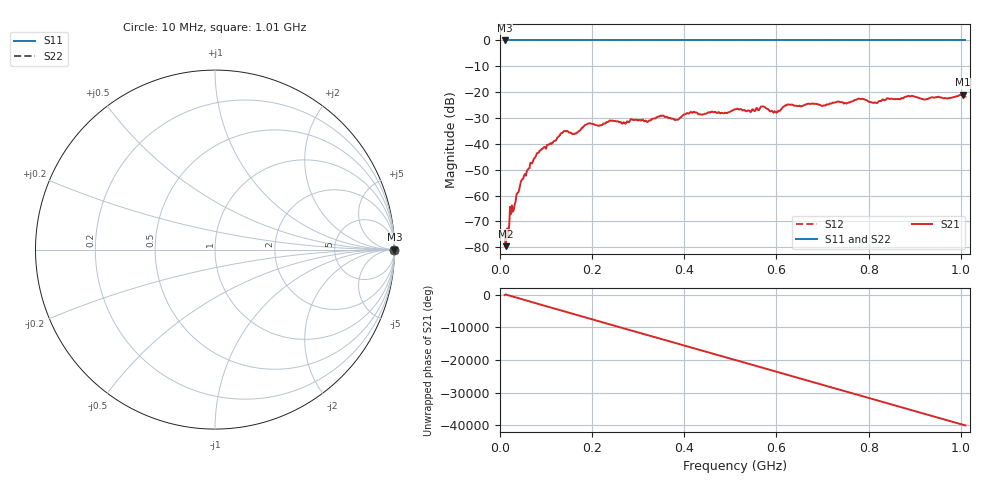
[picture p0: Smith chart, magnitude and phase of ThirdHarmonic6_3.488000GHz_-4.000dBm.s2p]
! 8/17/2025 11:21:33 AM
! C:\ANRITSUVNA\TEMP\TEMP.S2P
! CHANNEL.1
! TR.MEASUREMENT
! RAW.DATA
! RF.CORRECTION.OFF
! AVERAGING.OFF
! IF.BANDWIDTH: 5KHZ
! SWEEPTYPE:  FREQ.SWEEP(Linear)
! Reference Plane Port Info
! PORT:  PORT1  PORT2
! DISTANCE:  0  m  0  m
! TIME:  0  s  0  s
! PHASE.OFFSET:  0  deg.  0  deg.
! LOSS:  0  dB  0  dB
! REF.LOSS:  0  dB  0  dB
! REF.FREQ:  0  Hz  0  Hz
! Power Info
! POWER:  -20  dBm  -20  dBm
! EFF.POWER:  -20  dBm  -20  dBm
! SOURCE.ATTEN:  0  dB  0  dB
! TEST.ATTEN:  0  dB  0  dB
# GHZ S RI R 50.0
! FREQ.GHZ  S11RE  S11IM  S21RE  S21IM  S12RE  S12IM  S22RE  S22IM
!; PortSelection: Port_12
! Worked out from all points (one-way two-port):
!   501 points, 10 MHz to 1.01 GHz, reference 50 ohm
!   highest |S21| = -21.03 dB at 1.004 GHz (marker M1); lowest = -79.6 dB at 12 MHz (marker M2)
!   lowest |S11| = 0.0 dB at 10 MHz (marker M3)
!   |S11| at or under -10 dB: nowhere
!   |S22| runs from 0.0 to 0.0 dB; largest |S21 - S12| = 1.1
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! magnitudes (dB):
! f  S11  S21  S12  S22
! 10 MHz  0.0  -73.5  0.0  0.0
! 12 MHz  0.0  -79.6  0.0  0.0
! 16 MHz  0.0  -72.7  0.0  0.0
! 24 MHz  0.0  -67.2  0.0  0.0
! 48 MHz  0.0  -53.8  0.0  0.0
! 78 MHz  0.0  -44.7  0.0  0.0
! 136 MHz  0.0  -35.7  0.0  0.0
! 162 MHz  0.0  -36.2  0.0  0.0
! 178 MHz  0.0  -33.8  0.0  0.0
! 192 MHz  0.0  -32.1  0.0  0.0
! 322 MHz  0.0  -31.2  0.0  0.0
! 344 MHz  0.0  -29.5  0.0  0.0
! 384 MHz  0.0  -30.7  0.0  0.0
! 418 MHz  0.0  -28.0  0.0  0.0
! 510 MHz  0.0  -26.6  0.0  0.0
! 570 MHz  0.0  -25.5  0.0  0.0
! 598 MHz  0.0  -27.7  0.0  0.0
! 624 MHz  0.0  -24.8  0.0  0.0
! 678 MHz  0.0  -24.4  0.0  0.0
! 844 MHz  0.0  -22.5  0.0  0.0
! 1.004 GHz  0.0  -21.0  0.0  0.0
! 1.01 GHz  0.0  -21.7  0.0  0.0
